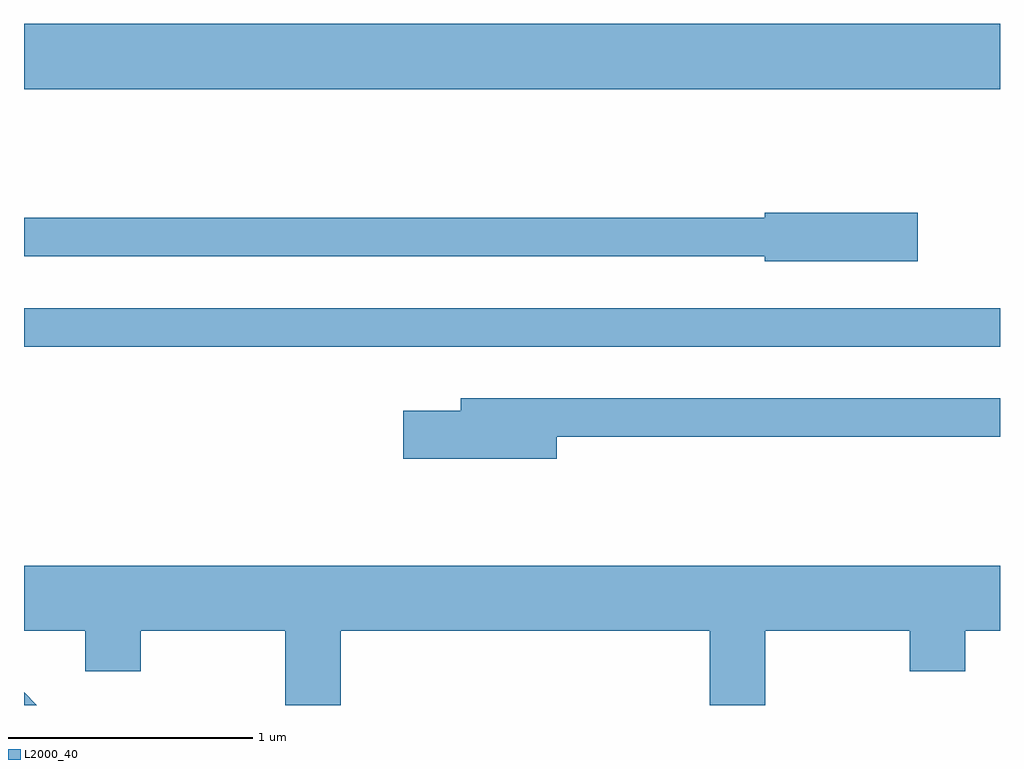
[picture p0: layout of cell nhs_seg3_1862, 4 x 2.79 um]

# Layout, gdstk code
import gdstk
lib = gdstk.Library(unit=1e-6, precision=1e-09)
def R(c, l, rs):  # rectangles x0, y0, x1, y1
    for r in rs: c.add(gdstk.rectangle(r[:2], r[2:], *l))
def P(c, l, *ps):  # polygons
    for p in ps: c.add(gdstk.Polygon(p, *l))
L2000_40 = (2000, 40)

nhs_seg3_1862 = lib.new_cell('nhs_seg3_1862')
R(nhs_seg3_1862, L2000_40, [(239.611,1169.361,243.611,1169.519), (239.611,1170.416,243.611,1170.684)])
P(nhs_seg3_1862, L2000_40, [(243.274,1169.909),(242.646,1169.909),(242.646,1169.889),(239.611,1169.889),(239.611,1169.731),(242.646,1169.731),(242.646,1169.711),(243.274,1169.711)],
  [(241.794,1168.991),(243.611,1168.991),(243.611,1169.149),(241.401,1169.149),(241.401,1169.099),(241.166,1169.099),(241.166,1168.901),(241.794,1168.901)],
  [(240.909,1168.196),(242.421,1168.196),(242.421,1167.892),(242.649,1167.892),(242.649,1168.196),(243.241,1168.196),(243.241,1168.031),(243.469,1168.031),(243.469,1168.196),(243.611,1168.196),(243.611,1168.464),(239.611,1168.464),(239.611,1168.196),(239.861,1168.196),(239.861,1168.031),(240.089,1168.031),(240.089,1168.196),(240.681,1168.196),(240.681,1167.892),(240.909,1167.892)],
  [(239.611,1167.945),(239.611,1167.892),(239.664,1167.892)])

lib.write_gds('nhs_seg3_1862.gds')
